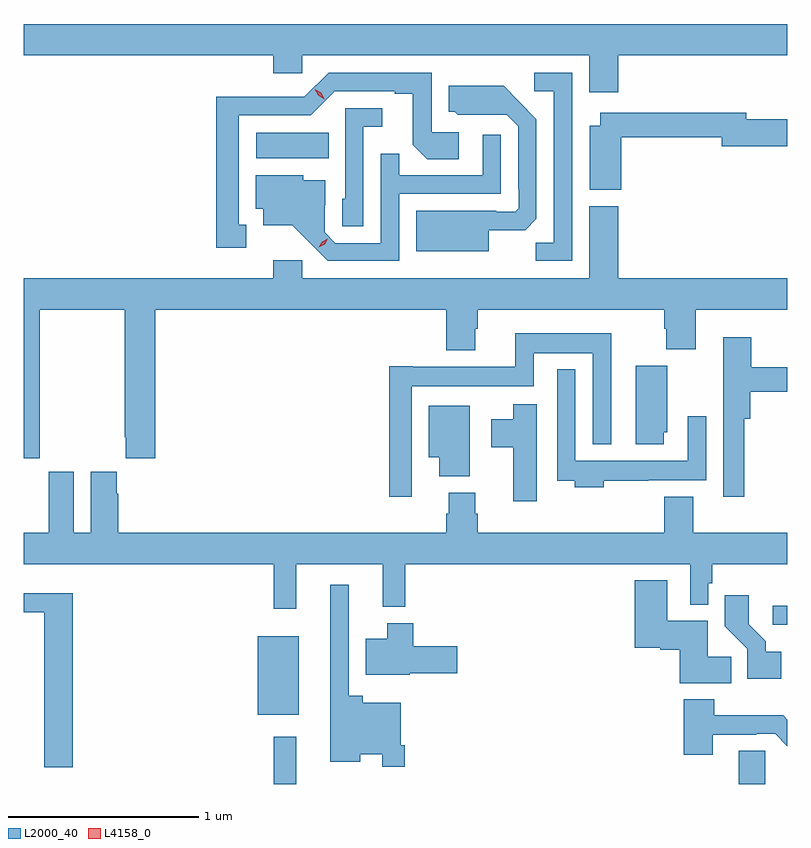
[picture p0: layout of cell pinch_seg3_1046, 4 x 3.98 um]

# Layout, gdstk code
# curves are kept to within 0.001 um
import gdstk
lib = gdstk.Library(unit=1e-6, precision=1e-09)
def R(c, l, rs):  # rectangles x0, y0, x1, y1
    for r in rs: c.add(gdstk.rectangle(r[:2], r[2:], *l))
def P(c, l, *ps):  # polygons
    for p in ps: c.add(gdstk.Polygon(p, *l))
L2000_40 = (2000, 40)
L4158_0 = (4158, 0)

pinch_seg3_1046 = lib.new_cell('pinch_seg3_1046')
R(pinch_seg3_1046, L2000_40, [(337.933,701.096,338.05,701.344), (340.367,701.096,340.506,701.27), (337.85,701.459,338.065,701.869), (340.545,701.931,340.623,702.03), (337.842,704.372,338.222,704.506)])
P(pinch_seg3_1046, L2000_40, [(339.737,704.912),(340.623,704.912),(340.623,705.076),(336.623,705.076),(336.623,704.912),(337.931,704.912),(337.931,704.819),(338.082,704.819),(338.082,704.912),(339.584,704.912),(339.584,704.718),(339.737,704.718)],
  [(339.495,704.82),(339.297,704.82),(339.297,704.724),(339.399,704.724),(339.399,703.931),(339.304,703.931),(339.304,703.836),(339.495,703.836)],
  [(337.789,704.025),(337.75,704.025),(337.75,704.598),(338.127,704.598),(338.253,704.724),(338.567,704.724),(338.567,704.712),(338.661,704.712),(338.661,704.444),(338.737,704.368),(338.902,704.368),(338.902,704.508),(338.76,704.508),(338.76,704.82),(338.22,704.82),(338.094,704.694),(337.872,704.694),(337.872,704.696),(337.632,704.696),(337.632,703.905),(337.789,703.905)],
  [(339.058,703.997),(339.25,703.997),(339.309,704.056),(339.309,704.578),(339.137,704.752),(338.849,704.752),(338.849,704.616),(338.88,704.616),(338.896,704.6),(339.153,704.601),(339.213,704.541),(339.213,704.212),(339.216,704.212),(339.216,704.112),(339.198,704.094),(339.098,704.094),(339.098,704.098),(338.678,704.098),(338.678,703.886),(339.058,703.886)],
  [(338.403,704.537),(338.5,704.537),(338.5,704.634),(338.307,704.634),(338.307,704.16),(338.292,704.16),(338.292,704.017),(338.403,704.017)],
  [(339.754,704.482),(340.28,704.482),(340.28,704.435),(340.623,704.435),(340.623,704.577),(340.408,704.577),(340.408,704.611),(339.644,704.611),(339.644,704.542),(339.587,704.542),(339.587,704.207),(339.754,704.207)],
  [(338.589,704.187),(339.123,704.187),(339.123,704.497),(339.027,704.497),(339.027,704.283),(338.591,704.283),(338.591,704.396),(338.493,704.396),(338.493,703.929),(338.256,703.929),(338.199,703.986),(338.199,704.128),(338.203,704.128),(338.203,704.257),(338.088,704.257),(338.088,704.284),(337.838,704.284),(337.838,704.108),(337.877,704.108),(337.877,704.021),(338.029,704.021),(338.216,703.836),(338.589,703.836)],
  [(336.708,703.58),(337.153,703.58),(337.153,702.913),(337.157,702.913),(337.157,702.801),(337.313,702.801),(337.313,703.58),(338.837,703.58),(338.837,703.367),(338.989,703.367),(338.989,703.479),(339.002,703.479),(339.002,703.58),(339.977,703.58),(339.977,703.481),(339.989,703.481),(339.989,703.372),(340.142,703.372),(340.142,703.58),(340.623,703.58),(340.623,703.744),(339.737,703.744),(339.737,704.122),(339.584,704.122),(339.584,703.744),(338.082,703.744),(338.082,703.84),(337.931,703.84),(337.931,703.744),(336.623,703.744),(336.623,702.801),(336.708,702.801)],
  [(338.655,703.178),(339.294,703.178),(339.294,703.352),(339.603,703.352),(339.603,702.875),(339.7,702.875),(339.7,703.456),(339.197,703.456),(339.197,703.282),(338.662,703.282),(338.662,703.285),(338.539,703.285),(338.539,702.6),(338.655,702.6)],
  [(340.396,703.01),(340.428,703.01),(340.428,703.15),(340.623,703.15),(340.623,703.279),(340.433,703.279),(340.433,703.435),(340.286,703.435),(340.286,703.173),(340.287,703.173),(340.287,702.6),(340.396,702.6)],
  [(339.976,702.939),(339.994,702.939),(339.994,703.287),(339.83,703.287),(339.83,702.876),(339.976,702.876)],
  [(339.662,702.684),(339.893,702.684),(339.893,702.686),(340.197,702.686),(340.197,703.021),(340.101,703.021),(340.101,702.79),(339.513,702.79),(339.513,703.267),(339.417,703.267),(339.417,702.684),(339.509,702.684),(339.509,702.65),(339.662,702.65)],
  [(339.31,703.084),(339.188,703.084),(339.188,703.006),(339.071,703.006),(339.071,702.859),(339.188,702.859),(339.188,702.576),(339.31,702.576)],
  [(338.959,703.078),(338.744,703.078),(338.744,702.806),(338.801,702.806),(338.801,702.707),(338.959,702.707)],
  [(336.974,702.73),(336.974,702.412),(336.886,702.412),(336.886,702.73),(336.755,702.73),(336.755,702.412),(336.623,702.412),(336.623,702.248),(337.933,702.248),(337.933,702.015),(338.051,702.015),(338.051,702.248),(338.504,702.248),(338.504,702.023),(338.621,702.023),(338.621,702.248),(340.113,702.248),(340.113,702.035),(340.209,702.035),(340.209,702.147),(340.229,702.147),(340.229,702.248),(340.623,702.248),(340.623,702.412),(340.129,702.412),(340.129,702.601),(339.977,702.601),(339.977,702.412),(339.002,702.412),(339.002,702.51),(338.989,702.51),(338.989,702.622),(338.849,702.622),(338.849,702.51),(338.837,702.51),(338.837,702.412),(337.118,702.412),(337.118,702.617),(337.111,702.617),(337.111,702.73)],
  [(340.328,701.762),(340.207,701.762),(340.207,701.95),(339.994,701.95),(339.994,702.163),(339.824,702.163),(339.824,701.81),(339.957,701.81),(339.957,701.798),(340.058,701.798),(340.058,701.624),(340.328,701.624)],
  [(338.618,701.299),(338.598,701.299),(338.598,701.521),(338.399,701.521),(338.399,701.557),(338.325,701.557),(338.325,702.139),(338.228,702.139),(338.228,701.213),(338.386,701.213),(338.386,701.252),(338.502,701.252),(338.502,701.187),(338.618,701.187)],
  [(336.881,702.094),(336.623,702.094),(336.623,701.996),(336.731,701.996),(336.731,701.184),(336.881,701.184)],
  [(340.591,701.788),(340.51,701.788),(340.51,701.843),(340.42,701.933),(340.42,702.085),(340.294,702.085),(340.294,701.922),(340.413,701.803),(340.413,701.648),(340.591,701.648)],
  [(338.646,701.675),(338.893,701.675),(338.893,701.817),(338.663,701.817),(338.663,701.938),(338.528,701.938),(338.528,701.857),(338.414,701.857),(338.414,701.669),(338.646,701.669)],
  [(340.231,701.355),(340.46,701.355),(340.46,701.358),(340.56,701.358),(340.623,701.295),(340.623,701.433),(340.601,701.455),(340.239,701.455),(340.239,701.539),(340.079,701.539),(340.079,701.25),(340.231,701.25)])
P(pinch_seg3_1046, L4158_0, [(338.169,703.906),(338.169,703.906),(338.186,703.936),(338.217,703.951),(338.217,703.951),(338.217,703.951),(338.2,703.922),(338.169,703.906)],
  [(338.198,704.683),(338.166,704.702),(338.149,704.734),(338.149,704.735),(338.149,704.735),(338.181,704.715),(338.198,704.683),(338.198,704.683)])

lib.write_gds('pinch_seg3_1046.gds')
